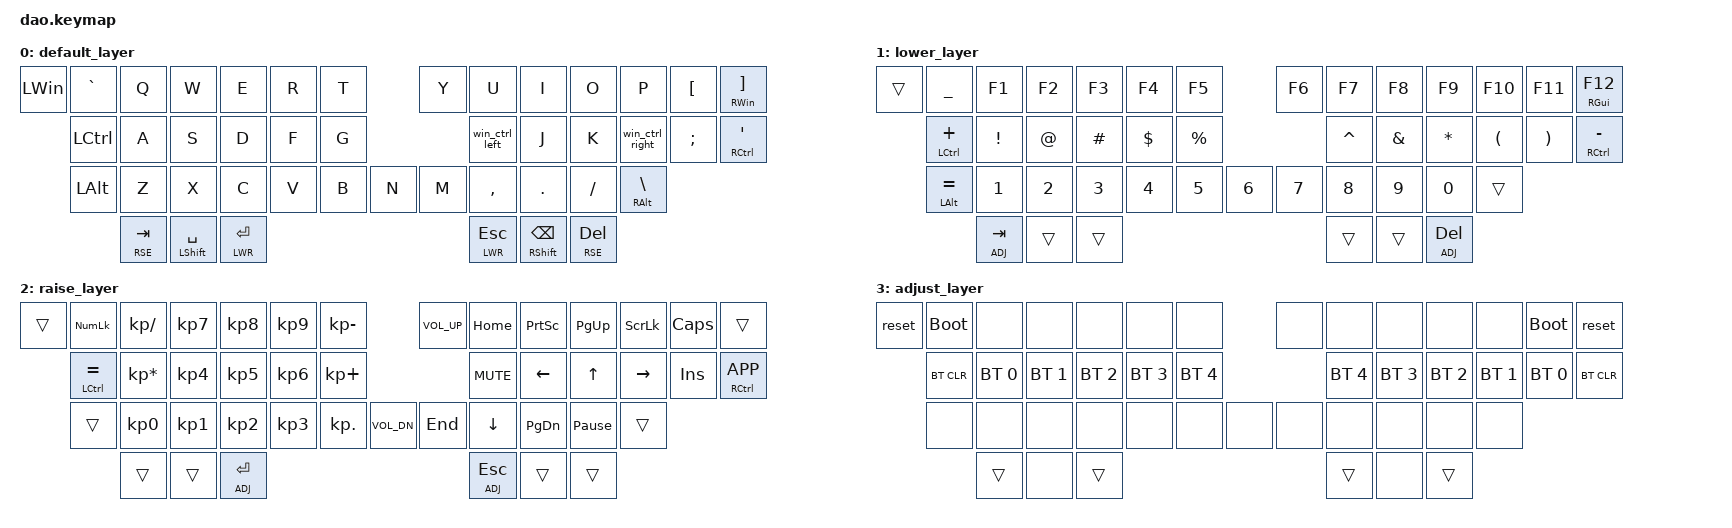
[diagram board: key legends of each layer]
/*
 * Copyright (c) 2021 Rafael Yumagulov
 *
 * SPDX-License-Identifier: MIT
 */





#include <behaviors.dtsi>
#include <dt-bindings/zmk/keys.h>
#include <dt-bindings/zmk/bt.h>

#define DEF 0
#define LWR 1
#define RSE 2
#define ADJ 3

&lt { quick_tap_ms = <200>; };
&mt { quick_tap_ms = <200>; };

/ {
    macros {
         macro_win_ctrl_left: macro_win_ctrl_left {
            label = "macro_win_ctrl_left";
            compatible = "zmk,behavior-macro";
            wait-ms = <10>;
            #binding-cells = <0>;
            bindings
                = <&macro_press &kp LEFT_GUI>
                , <&macro_press &kp LEFT_CONTROL>
                , <&macro_tap &kp LEFT_ARROW>
                , <&macro_release &kp LEFT_CONTROL>
                , <&macro_release &kp LEFT_GUI>
                ;
        };
    };
};
/ {
    behaviors {
        win_ctrl_left: win_ctrl_left {
            compatible = "zmk,behavior-mod-morph";
            label = "win_ctrl_left";
            #binding-cells = <0>;
            bindings = <&kp H>, <&kp macro_win_ctrl_left>;
            mods = <(MOD_LGUI|MOD_RGUI)>;
        };
    };
};

/ {
    macros {
         macro_win_ctrl_right: macro_win_ctrl_right {
            label = "macro_win_ctrl_right";
            compatible = "zmk,behavior-macro";
            wait-ms = <10>;
            #binding-cells = <0>;
            bindings
                = <&macro_press &kp LEFT_GUI>
                , <&macro_press &kp LEFT_CONTROL>
                , <&macro_tap &kp RIGHT_ARROW>
                , <&macro_release &kp LEFT_CONTROL>
                , <&macro_release &kp LEFT_GUI>
                ;
        };
    };
};
/ {
    behaviors {
        win_ctrl_right: win_ctrl_right {
            compatible = "zmk,behavior-mod-morph";
            label = "win_ctrl_right";
            #binding-cells = <0>;
            bindings = <&kp L>, <&kp macro_win_ctrl_right>;
            mods = <(MOD_LGUI|MOD_RGUI)>;
        };
    };
};

/ {


        keymap {
                compatible = "zmk,keymap";

                default_layer {
// -----------------------------------------------------------------------------------------
// |  GUI |   ~  |  Q  |  W  |  E  |  R  |  T  |   |  Y  |  U   |  I  |  O  |  P  |  [   | GUI/] |
//        | CTRL |  A  |  S  |  D  |  F  |  G  |   |  H  |  J   |  K  |  L  |  ;  |CTRL/'|
//        | LALT |  Z  |  X  |  C  |  V  |  B  |   |  N  |  M   |  ,  |  .  |  /  | RALT |
//                           | RSE | SPC | LWR |   | LWR | BKSP | RSE |
                        bindings = <
   &kp LWIN &kp GRAVE &kp Q &kp W &kp E &kp R &kp T             &kp Y           &kp U  &kp I     &kp O   &kp P    &kp LBKT &mt RWIN RBKT
            &kp LCTRL &kp A &kp S &kp D &kp F &kp G             &win_ctrl_left  &kp J  &kp K     &win_ctrl_right   &kp SEMI &mt RCTRL SQT
            &kp LALT  &kp Z &kp X &kp C &kp V &kp B &kp N       &kp M  &kp COMMA &kp DOT &kp FSLH &mt RALT BSLH
                         &lt RSE TAB &mt LSHFT SPACE &lt LWR    RET &lt LWR ESC &mt RSHFT BSPC &lt RSE DEL
                        >;
                };
                lower_layer {
// -----------------------------------------------------------------------------------------
// |     |  _  |  F1 |  F2 |  F3 |  F4 |  F5 |   |  F6 |  F7 |  F8 |  F9 | F10 | F11 | F12 |
//       |  +  |  !  |  @  |  #  |  $  |  %  |   |  ^  |  &  |  *  |  (  |  )  |  -  |
//       |  =  |  1  |  2  |  3  |  4  |  5  |   |  6  |  7  |  8  |  9  |  0  |     |
//                    | GUI |     | SPC |   | ENT |     | ALT |
                        bindings = <
   &trans &kp UNDER      &kp F1   &kp F2 &kp F3   &kp F4   &kp F5           &kp F6    &kp F7   &kp F8   &kp F9   &kp F10  &kp F11 &mt RGUI F12
          &mt LCTRL PLUS &kp EXCL &kp AT &kp HASH &kp DLLR &kp PRCNT        &kp CARET &kp AMPS &kp STAR &kp LPAR &kp RPAR &mt RCTRL MINUS
          &mt LALT EQUAL &kp N1   &kp N2 &kp N3   &kp N4   &kp N5           &kp N6    &kp N7   &kp N8   &kp N9   &kp N0   &trans
                                              &lt ADJ TAB &trans &trans   &trans &trans &lt ADJ DEL
                        >;
                };

                raise_layer {
// -----------------------------------------------------------------------------------------
// |     | NMLK |  /  |  7  |  8  |  9  |  -  |   | VOLU| HOME| PRSC| PGUP| SCLK| CLCK|     |
//       | CTRL |  *  |  4  |  5  |  6  |  +  |   | MUT | LEFT|  UP | RGHT| INS | APP |
//       |      |  0  |  1  |  2  |  3  |  .  |   | VOLD| END | DOWN| PGDN| PAUS|     |
//                          |     |     | ADJ |   | ADJ |     |     |
                        bindings = <
   &trans &kp KP_NUM      &kp KP_SLASH    &kp KP_N7 &kp KP_N8 &kp KP_N9 &kp KP_MINUS        &kp C_VOL_UP &kp HOME &kp PSCRN &kp PG_UP &kp SLCK &kp CAPS &trans
          &mt LCTRL EQUAL &kp KP_MULTIPLY &kp KP_N4 &kp KP_N5 &kp KP_N6 &kp KP_PLUS         &kp C_MUTE   &kp LEFT &kp UP    &kp RIGHT &kp INS  &mt RCTRL K_APP
          &trans          &kp KP_N0       &kp KP_N1 &kp KP_N2 &kp KP_N3 &kp KP_DOT          &kp C_VOL_DN &kp END  &kp DOWN  &kp PG_DN &kp PAUSE_BREAK &trans
                                                           &trans &trans &lt ADJ RET   &lt ADJ ESC &trans &trans
                        >;
                };
                adjust_layer {
// -----------------------------------------------------------------------------------------
// | RST | BLDR |     |     |     |     |     |   |     |     |     |     |     | BLDR | RST |
//       | BTCLR| BT0 | BT1 | BT2 | BT3 | BT4 |   | BT4 | BT3 | BT2 | BT1 | BT0 | BTCLR|
//       |      |     |     |     |     |     |   |     |     |     |     |     |      |
//                          |     |     |     |   |     |     |     |
                        bindings = <
   &reset &bootloader  &none        &none        &none        &none        &none              &none        &none        &none        &none        &none         &bootloader &reset
          &bt BT_CLR   &bt BT_SEL 0 &bt BT_SEL 1 &bt BT_SEL 2 &bt BT_SEL 3 &bt BT_SEL 4       &bt BT_SEL 4 &bt BT_SEL 3 &bt BT_SEL 2 &bt BT_SEL 1 &bt BT_SEL 0  &bt BT_CLR
          &none        &none        &none        &none        &none        &none              &none        &none        &none        &none        &none         &none
                                                                    &trans &none &trans   &trans &none &trans
                        >;
                };
        };
};
